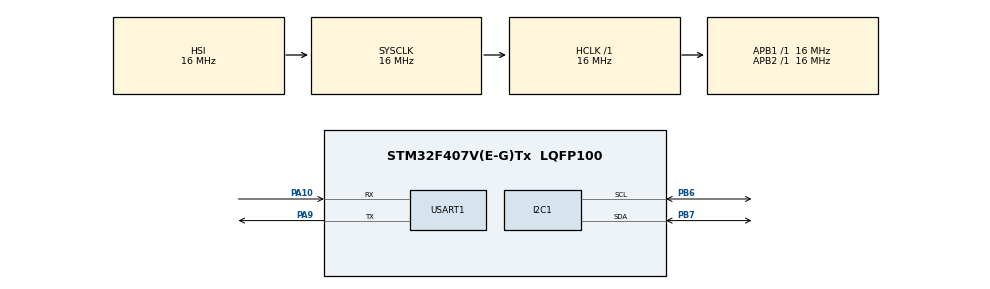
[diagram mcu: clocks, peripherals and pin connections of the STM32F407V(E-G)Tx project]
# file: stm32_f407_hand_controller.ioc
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Mcu.Family=STM32F4
Mcu.Name=STM32F407V(E-G)Tx
Mcu.Package=LQFP100
NVIC.PriorityGroup=NVIC_PRIORITYGROUP_4
NVIC.USART1_IRQn=true\:0\:0\:false\:false\:true\:true\:true\:true
PA10.Mode=Asynchronous
PA10.Signal=USART1_RX
PA13.Mode=Serial_Wire
PA13.Signal=SYS_JTMS-SWDIO
PA14.Mode=Serial_Wire
PA14.Signal=SYS_JTCK-SWCLK
PA9.Mode=Asynchronous
PA9.Signal=USART1_TX
PB6.Mode=I2C
PB6.Signal=I2C1_SCL
PB7.Mode=I2C
PB7.Signal=I2C1_SDA
PH0-OSC_IN.Mode=HSE-External-Oscillator
PH0-OSC_IN.Signal=RCC_OSC_IN
PH1-OSC_OUT.Mode=HSE-External-Oscillator
PH1-OSC_OUT.Signal=RCC_OSC_OUT
ProjectManager.HeapSize=0x200
ProjectManager.StackSize=0x400
ProjectManager.TargetToolchain=MDK-ARM V5.32
RCC.AHBFreq_Value=16000000
RCC.APB1Freq_Value=16000000
RCC.APB2Freq_Value=16000000
RCC.CortexFreq_Value=16000000
RCC.HSE_VALUE=25000000
RCC.HSI_VALUE=16000000
RCC.LSE_VALUE=32768
RCC.SYSCLKFreq_VALUE=16000000
RCC.VCOOutputFreq_Value=192000000
USART1.VirtualMode=VM_ASYNC
board=custom

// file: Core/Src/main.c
/* USER CODE BEGIN Header */
/**
  ******************************************************************************
  * @file           : main.c
  * @brief          : Main program body
  ******************************************************************************
  * @attention
  *
  * Copyright (c) 2026 STMicroelectronics.
  * All rights reserved.
  *
  * This software is licensed under terms that can be found in the LICENSE file
  * in the root directory of this software component.
  * If no LICENSE file comes with this software, it is provided AS-IS.
  *
  ******************************************************************************
  */
/* USER CODE END Header */
#include "main.h"
#include "dma.h"
#include "i2c.h"
#include "usart.h"
#include "gpio.h"

/* USER CODE BEGIN Includes */
#include "hand_protocol.h"
#include "hand_servo.h"
#include <string.h>
#include <stdio.h>

/* USER CODE END Includes */

/* USER CODE BEGIN PTD */
  typedef enum
  {
    ACK_STATUS_NONE=0,
    ACK_STATUS_IN_PROGRESS,
    ACK_STATUS_OK,
    ACK_STATUS_PREEMPTED,
    ACK_STATUS_BUSY,
    ACK_STATUS_ERROR
  }ack_status_t;

  #define ACK_CACHE_SIZE 4

typedef struct
{
    uint8_t valid;
    uint32_t seq;
    hand_action_t action;
    ack_status_t status;
} ack_record_t;

  static ack_record_t ack_cache[ACK_CACHE_SIZE];

  static uint8_t ack_cache_next=0;

  static const char *ack_status_to_string(
    ack_status_t status)
{
    switch (status)
    {
    case ACK_STATUS_IN_PROGRESS:
        return "IN_PROGRESS";

    case ACK_STATUS_OK:
        return "OK";

    case ACK_STATUS_PREEMPTED:
        return "PREEMPTED";

    case ACK_STATUS_BUSY:
        return "BUSY";

    case ACK_STATUS_ERROR:
        return "ERROR";

    case ACK_STATUS_NONE:
    default:
        return "UNKNOWN";
    }
}

static ack_record_t *ack_cache_find(
    uint32_t seq)
{
    for (uint8_t i = 0;
         i < ACK_CACHE_SIZE;
         i++)
    {
        if (ack_cache[i].valid &&
            ack_cache[i].seq == seq)
        {
            return &ack_cache[i];
        }
    }

    return NULL;
}

static void ack_cache_set(
    uint32_t seq,
    hand_action_t action,
    ack_status_t status)
{
    ack_record_t *record = ack_cache_find(seq);

    if (record != NULL)
    {
        record->status = status;
        return;
    }

    ack_cache[ack_cache_next].valid = 1;
    ack_cache[ack_cache_next].seq = seq;
    ack_cache[ack_cache_next].action = action;
    ack_cache[ack_cache_next].status = status;

    ack_cache_next =
        (ack_cache_next + 1U) % ACK_CACHE_SIZE;
}
static void send_ack(
    uint32_t seq,
    ack_status_t status)
{
    char buf[64];

    int len =
        snprintf(
            buf,
            sizeof(buf),
            "ACK:%lu %s\r\n",
            (unsigned long)seq,
            ack_status_to_string(status));

    if (len > 0)
    {
        HAL_UART_Transmit(
            &huart1,
            (uint8_t *)buf,
            strlen(buf),
            100);
    }
}
/* USER CODE END PTD */

/* USER CODE BEGIN PV */
#define UART_RX_BUF_SIZE       64U
#define UART_DMA_RX_BUF_SIZE  256U
#define UART_SW_RING_SIZE     512U

/* DMA直接写入的缓冲区 */
static uint8_t dma_rx_buf[UART_DMA_RX_BUF_SIZE];

/* 上一次已经处理到的DMA位置 */
static uint16_t dma_old_pos = 0;

/* 软件环形缓冲区 */
static uint8_t uart_ring[UART_SW_RING_SIZE];

static volatile uint16_t uart_ring_head = 0;
static volatile uint16_t uart_ring_tail = 0;

static volatile uint8_t uart_rx_overflow = 0;

/* 主循环解析ASCII行协议 */
static char uart_line_buf[UART_RX_BUF_SIZE];

static uint8_t uart_line_index = 0;
static uint8_t uart_line_discard = 0;

uint8_t action_in_progress = 0;

hand_action_t active_action =
    HAND_ACTION_NONE;

uint32_t active_seq=0;
// volatile uint8_t hand_action_pending=0;
// volatile hand_action_t hand_pending_action=HAND_ACTION_NONE;

/* USER CODE END PV */

void SystemClock_Config(void);

/* USER CODE BEGIN 0 */
static void uart_ring_push_isr(uint8_t byte)
{
    if (uart_rx_overflow)
    {
        return;
    }

    uint16_t next =
        (uart_ring_head + 1U) %
        UART_SW_RING_SIZE;

    if (next == uart_ring_tail)
    {
        uart_rx_overflow = 1;
        return;
    }

    uart_ring[uart_ring_head] = byte;

    uart_ring_head = next;
}
static uint8_t uart_ring_pop(uint8_t *byte)
{
    if (byte == NULL)
    {
        return 0;
    }

    uint8_t has_data = 0;

    uint32_t primask = __get_PRIMASK();

    __disable_irq();

    if (uart_ring_tail != uart_ring_head)
    {
        *byte = uart_ring[uart_ring_tail];

        uart_ring_tail =
            (uart_ring_tail + 1U) %
            UART_SW_RING_SIZE;

        has_data = 1;
    }

    if (primask == 0U)
    {
        __enable_irq();
    }

    return has_data;
}
static void uart_dma_collect(uint16_t pos)
{
    if (pos > UART_DMA_RX_BUF_SIZE)
    {
        uart_rx_overflow = 1;
        return;
    }

    uint16_t old = dma_old_pos;

    /*
     * 情况1：
     * DMA写入位置没有回绕
     */
    if (pos > old)
    {
        for (uint16_t i = old; i < pos; i++)
        {
            uart_ring_push_isr(dma_rx_buf[i]);
        }
    }

    /*
     * 情况2：
     * DMA写入位置已经回绕
     */
    else if (pos < old)
    {
        for (uint16_t i = old;
             i < UART_DMA_RX_BUF_SIZE;
             i++)
        {
            uart_ring_push_isr(dma_rx_buf[i]);
        }

        for (uint16_t i = 0; i < pos; i++)
        {
            uart_ring_push_isr(dma_rx_buf[i]);
        }
    }

    /*
     * Size可能等于整个DMA缓冲区大小。
     * 处理完后归一化到0。
     */
    dma_old_pos =
        (pos == UART_DMA_RX_BUF_SIZE)
        ? 0U
        : pos;
}

static uint8_t uart_poll_line(
    char out[UART_RX_BUF_SIZE])
{
    uint8_t byte;

    if (!uart_ring_pop(&byte))
    {
        return 0;
    }

    /*
     * 一行接收完成
     */
    if (byte == '\n')
    {
        uint8_t valid =
            !uart_line_discard &&
            uart_line_index > 0;

        if (valid)
        {
            uart_line_buf[uart_line_index] = '\0';

            memcpy(
                out,
                uart_line_buf,
                uart_line_index + 1U);
        }

        uart_line_index = 0;
        uart_line_discard = 0;

        return valid;
    }

    /* 忽略回车 */
    if (byte == '\r')
    {
        return 0;
    }

    /*
     * 行过长时丢弃到下一个换行符，
     * 避免把残缺数据当成新命令。
     */
    if (!uart_line_discard)
    {
        if (uart_line_index <
            UART_RX_BUF_SIZE - 1U)
        {
            uart_line_buf[uart_line_index++] =
                (char)byte;
        }
        else
        {
            uart_line_discard = 1;
        }
    }

    return 0;
}

/* USER CODE END 0 */

int main(void)
{

  /* MCU Configuration--------------------------------------------------------*/

  /* Reset of all peripherals, Initializes the Flash interface and the Systick. */
  HAL_Init();

  /* Configure the system clock */
  SystemClock_Config();

  /* Initialize all configured peripherals */
  MX_GPIO_Init();
  MX_DMA_Init();
  MX_I2C1_Init();
  MX_USART1_UART_Init();
  /* USER CODE BEGIN 2 */
	if(hand_servo_init(&hi2c1)==HAL_OK)
	{
		char msg[]="PCA9685 init OK\r\n";
		HAL_UART_Transmit(&huart1,(uint8_t*)msg,strlen(msg),100);
	}
	else
	{
		char msg[]="PCA9685 init FAIL\r\n";
		HAL_UART_Transmit(&huart1,(uint8_t*)msg,strlen(msg),100);
	}
	if (HAL_UARTEx_ReceiveToIdle_DMA(
        &huart1,
        dma_rx_buf,
        UART_DMA_RX_BUF_SIZE) != HAL_OK)
	{
    Error_Handler();
	}

  /* USER CODE END 2 */

  /* Infinite loop */
  /* USER CODE BEGIN WHILE */
while (1)
{
	if (uart_rx_overflow)
	{
    uint32_t primask = __get_PRIMASK();

    __disable_irq();

    uart_ring_tail = uart_ring_head;
    uart_rx_overflow = 0;

    if (primask == 0U)
    {
        __enable_irq();
    }

    uart_line_index = 0;

    /*
     * 丢弃至下一个换行符，
     * 防止将残缺数据当作有效命令。
     */
    uart_line_discard = 1;
	}

    /* 1. 处理完整UART命令 */
  char line[UART_RX_BUF_SIZE];

	if (uart_poll_line(line))
		 {
			hand_command_t command;

        if (!hand_protocol_parse_frame(
                line,
                &command))
        {
            char msg[] =
                "ERR:INVALID_FRAME\r\n";

            HAL_UART_Transmit(
                &huart1,
                (uint8_t *)msg,
                strlen(msg),
                100);
        }
        else
        {
            /*
             * 2. 先检查活动SEQ，再查缓存
             */
            uint8_t active_seq_handled = 0;

            if (action_in_progress &&
                command.seq == active_seq)
            {
                if (command.action != active_action)
                {
                    const char msg[] =
                        "ERR:SEQ_CONFLICT\r\n";

                    HAL_UART_Transmit(
                        &huart1,
                        (uint8_t *)msg,
                        sizeof(msg) - 1U,
                        100);
                }
                else
                {
                    send_ack(
                        command.seq,
                        ACK_STATUS_IN_PROGRESS);
                }

                active_seq_handled = 1;
            }

            if (!active_seq_handled)
            {
            ack_record_t *old_record =
                ack_cache_find(
                    command.seq);

       if (old_record != NULL)
    {

        if (old_record->action != command.action)
        {
            const char msg[] =
            "ERR:SEQ_CONFLICT\r\n";

            HAL_UART_Transmit(
            &huart1,
            (uint8_t *)msg,
            sizeof(msg) - 1U,
            100);
        }
    else
    {

        send_ack(
            command.seq,
            old_record->status);
    }
    }

            /*
             * 3. STOP最高优先级
             */
            else if (
                command.action ==
                HAND_ACTION_STOP)
            {
                uint8_t had_active =action_in_progress;

                uint32_t old_seq =active_seq;

                hand_action_t old_action = active_action;

                if (hand_servo_start_action(
                        HAND_ACTION_STOP)
                    == HAL_OK)
                {
                    ack_cache_set(
                        command.seq,
                        command.action,
                        ACK_STATUS_OK);

                    /*
                     * STOP成功接管之后，
                     * 原动作才正式标记PREEMPTED。
                     */
                    if (had_active)
                    {
                       ack_cache_set(old_seq,old_action,ACK_STATUS_PREEMPTED);

                        send_ack(
                            old_seq,
                            ACK_STATUS_PREEMPTED);
                    }

                    active_seq =
                        0;

                    active_action =
                        HAND_ACTION_NONE;

                    action_in_progress = 0;

                    send_ack(
                        command.seq,
                        ACK_STATUS_OK);
                }
                else
                {
                  ack_cache_set(command.seq,command.action,ACK_STATUS_ERROR);

                    send_ack(
                        command.seq,
                        ACK_STATUS_ERROR);
                }
            }

            /*
             * 4. 普通动作：
             * 只有空闲时允许启动
             */
            else if (!hand_servo_is_busy())
            {
                if (hand_servo_start_action(
                        command.action)
                    == HAL_OK)
                {
                    active_seq =
                        command.seq;

                    active_action =
                        command.action;

                    action_in_progress = 1;

                  ack_cache_set(command.seq,command.action,ACK_STATUS_IN_PROGRESS);
                    send_ack(
                        command.seq,
                        ACK_STATUS_IN_PROGRESS);
                }
                else
                {
            ack_cache_set(command.seq,command.action,ACK_STATUS_ERROR);

                    send_ack(
                        command.seq,
                        ACK_STATUS_ERROR);
                }
            }

            /*
             * 5. 当前busy，
             * 普通动作拒绝
             */
            else
            {
            ack_cache_set(command.seq,command.action,ACK_STATUS_BUSY);

                send_ack(
                    command.seq,
                    ACK_STATUS_BUSY);
            }
        }
    }

    /*
     * 6. 每次主循环继续推进非阻塞状态机
     */
            }

    HAL_StatusTypeDef update_ret =
        hand_servo_update();

    /*
     * 7. 执行发生错误
     */
    if (update_ret != HAL_OK)
    {
        if (action_in_progress)
        {
        ack_cache_set(active_seq,active_action, ACK_STATUS_ERROR);

            send_ack(
                active_seq,
                ACK_STATUS_ERROR);
        }

        action_in_progress = 0;

        active_action =
            HAND_ACTION_NONE;

        active_seq = 0;
    }

    /*
     * 8. 当前动作完成
     */
    if (action_in_progress &&
        !hand_servo_is_busy())
    {
        ack_cache_set(active_seq,active_action,ACK_STATUS_OK);

        send_ack(
            active_seq,
            ACK_STATUS_OK);

        action_in_progress = 0;

        active_action =
            HAND_ACTION_NONE;

        active_seq = 0;
    }
}

    /* USER CODE END WHILE */

}

void SystemClock_Config(void)
{
  RCC_OscInitTypeDef RCC_OscInitStruct = {0};
  RCC_ClkInitTypeDef RCC_ClkInitStruct = {0};

  /** Configure the main internal regulator output voltage
  */
  __HAL_RCC_PWR_CLK_ENABLE();
  __HAL_PWR_VOLTAGESCALING_CONFIG(PWR_REGULATOR_VOLTAGE_SCALE1);

  /** Initializes the RCC Oscillators according to the specified parameters
  * in the RCC_OscInitTypeDef structure.
  */
  RCC_OscInitStruct.OscillatorType = RCC_OSCILLATORTYPE_HSI;
  RCC_OscInitStruct.HSIState = RCC_HSI_ON;
  RCC_OscInitStruct.HSICalibrationValue = RCC_HSICALIBRATION_DEFAULT;
  RCC_OscInitStruct.PLL.PLLState = RCC_PLL_NONE;
  if (HAL_RCC_OscConfig(&RCC_OscInitStruct) != HAL_OK)
  {
    Error_Handler();
  }

  /** Initializes the CPU, AHB and APB buses clocks
  */
  RCC_ClkInitStruct.ClockType = RCC_CLOCKTYPE_HCLK|RCC_CLOCKTYPE_SYSCLK
                              |RCC_CLOCKTYPE_PCLK1|RCC_CLOCKTYPE_PCLK2;
  RCC_ClkInitStruct.SYSCLKSource = RCC_SYSCLKSOURCE_HSI;
  RCC_ClkInitStruct.AHBCLKDivider = RCC_SYSCLK_DIV1;
  RCC_ClkInitStruct.APB1CLKDivider = RCC_HCLK_DIV1;
  RCC_ClkInitStruct.APB2CLKDivider = RCC_HCLK_DIV1;

  if (HAL_RCC_ClockConfig(&RCC_ClkInitStruct, FLASH_LATENCY_0) != HAL_OK)
  {
    Error_Handler();
  }
}

/* USER CODE BEGIN 4 */
// static const char * hand_action_to_ack_name(hand_action_t action)
// {
// 	switch(action){
// 		case	HAND_ACTION_OPEN:
// 			return "HAND_OPEN";

// 		case	HAND_ACTION_GRAB:
// 			return "HAND_GRAB";

// 		case	HAND_ACTION_RELEASE:
// 			return "HAND_RELEASE";

// 		case	HAND_ACTION_STOP:
// 			return "HAND_STOP";

// 		case	HAND_ACTION_NONE:
// 		default:
// 			return "HAND_NONE";
// 	}
// }

void HAL_UARTEx_RxEventCallback(
    UART_HandleTypeDef *huart,
    uint16_t Size)
{
    if (huart->Instance != USART1)
    {
        return;
    }

    uart_dma_collect(Size);
}
/* USER CODE END 4 */

void Error_Handler(void)
{
  __disable_irq();
  while (1)
  {
  }
}
